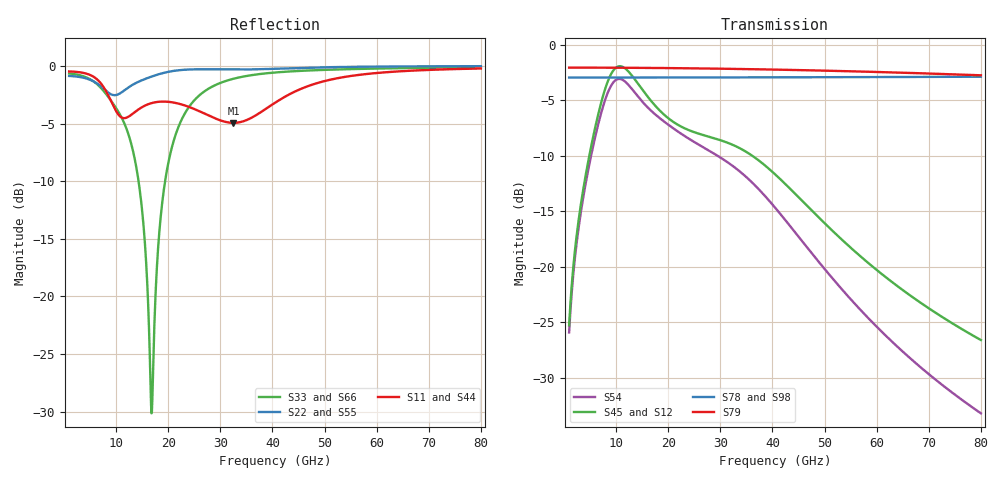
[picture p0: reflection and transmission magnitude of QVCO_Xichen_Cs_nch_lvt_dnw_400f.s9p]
! Touchstone Ver. 1.0
! Number of ports is 9
# Hz	S	RI	R	50.000000
! SCATTERING PARAMETERS  :
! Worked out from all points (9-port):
!   1001 points, 1 GHz to 80 GHz, reference 50 ohm
!   strongest paths, dB at 1 GHz, 20.75 GHz, 40.5 GHz, 60.25 GHz, 80 GHz:
!     S79: -2.0, -2.1, -2.2, -2.4, -2.7
!     S78: -2.9, -2.9, -2.9, -2.9, -2.9
!     S98: -2.9, -3.0, -3.0, -3.1, -3.2
!     S45: -25.3, -6.9, -11.7, -20.4, -26.6
!     S12: -25.3, -6.9, -11.7, -20.4, -26.6
!     S54: -25.9, -7.4, -14.7, -25.5, -33.2
!   lowest |S11| = -4.9 dB at 32.52 GHz (marker M1), VSWR 3.61, Z = 86.2 + j82.7 ohm
!   |S11| at or under -10 dB: nowhere
